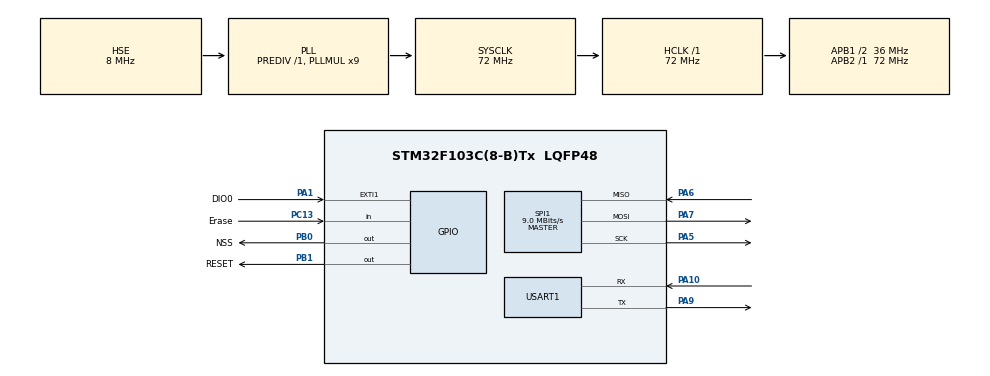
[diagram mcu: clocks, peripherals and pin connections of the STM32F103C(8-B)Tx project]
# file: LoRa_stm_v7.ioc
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Mcu.Family=STM32F1
Mcu.Name=STM32F103C(8-B)Tx
Mcu.Package=LQFP48
NVIC.PriorityGroup=NVIC_PRIORITYGROUP_4
PA1.GPIO_Label=DIO0
PA1.Signal=GPXTI1
PA10.Mode=Asynchronous
PA10.Signal=USART1_RX
PA13.Mode=Serial_Wire
PA13.Signal=SYS_JTMS-SWDIO
PA14.Mode=Serial_Wire
PA14.Signal=SYS_JTCK-SWCLK
PA5.Mode=Full_Duplex_Master
PA5.Signal=SPI1_SCK
PA6.Mode=Full_Duplex_Master
PA6.Signal=SPI1_MISO
PA7.Mode=Full_Duplex_Master
PA7.Signal=SPI1_MOSI
PA9.Mode=Asynchronous
PA9.Signal=USART1_TX
PB0.GPIO_Label=NSS
PB0.PinState=GPIO_PIN_SET
PB0.Signal=GPIO_Output
PB1.GPIO_Label=RESET
PB1.PinState=GPIO_PIN_SET
PB1.Signal=GPIO_Output
PC13-TAMPER-RTC.GPIO_Label=Erase
PC13-TAMPER-RTC.Signal=GPIO_Input
PD0-OSC_IN.Mode=HSE-External-Oscillator
PD0-OSC_IN.Signal=RCC_OSC_IN
PD1-OSC_OUT.Mode=HSE-External-Oscillator
PD1-OSC_OUT.Signal=RCC_OSC_OUT
ProjectManager.HeapSize=0x200
ProjectManager.StackSize=0x400
ProjectManager.TargetToolchain=STM32CubeIDE
RCC.AHBFreq_Value=72000000
RCC.APB1CLKDivider=RCC_HCLK_DIV2
RCC.APB1Freq_Value=36000000
RCC.APB1TimFreq_Value=72000000
RCC.APB2Freq_Value=72000000
RCC.APB2TimFreq_Value=72000000
RCC.HCLKFreq_Value=72000000
RCC.PLLMUL=RCC_PLL_MUL9
RCC.PLLSourceVirtual=RCC_PLLSOURCE_HSE
RCC.SYSCLKFreq_VALUE=72000000
RCC.SYSCLKSource=RCC_SYSCLKSOURCE_PLLCLK
RCC.USBFreq_Value=72000000
SPI1.BaudRatePrescaler=SPI_BAUDRATEPRESCALER_8
SPI1.CalculateBaudRate=9.0 MBits/s
SPI1.Direction=SPI_DIRECTION_2LINES
SPI1.Mode=SPI_MODE_MASTER
SPI1.VirtualType=VM_MASTER
USART1.VirtualMode=VM_ASYNC
board=custom

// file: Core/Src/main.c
/* USER CODE BEGIN Header */
/**
  ******************************************************************************
  * @file           : main.c
  * @brief          : Main program body (clean RX model)
  ******************************************************************************
  * @attention
  *
  * Copyright (c) 2026 STMicroelectronics.
  * All rights reserved.
  *
  ******************************************************************************
  */
/* USER CODE END Header */
#include "main.h"
#include "spi.h"
#include "usart.h"
#include "gpio.h"

/* USER CODE BEGIN Includes */
#include <string.h>
#include <stdio.h>
#include <stdarg.h>
#include "LoRa.h"
#include <stdint.h>
#include <ctype.h>
#include <stdlib.h>
#include "stm32f1xx.h"
#include "stm32f1xx_hal_flash.h"
#include "stm32f1xx_hal_flash_ex.h"
#include "Mesh.h"
/* USER CODE END Includes */

/* USER CODE BEGIN PV */
LoRa myLoRa;
uint16_t LoRa_status;
uint32_t uid[3];
uint8_t Master = 1;
int nodeId = 0;
uint8_t rxBuf[256];
uint8_t txBuf[256];
char payloadBuf[128];

/* USER CODE END PV */

void SystemClock_Config(void);
/* USER CODE BEGIN PFP */
#ifdef USE_UART
	void printu(const char *msg);
	void print_dbg(const char *format, ...);
	void print_node_id(uint8_t nodeId);
	void print_reset_reason(void);
#endif
void STM32_GetUID(uint32_t uid[3]);
/* USER CODE END PFP */

int main(void)
{

  /* MCU Configuration--------------------------------------------------------*/
  HAL_Init();

  lcg_seed = HAL_GetTick();

  /* USER CODE BEGIN Init */
  MX_GPIO_Init();
  MX_SPI1_Init();
  MX_USART1_UART_Init();
  /* USER CODE END Init */

  SystemClock_Config();

  MX_GPIO_Init();
  MX_SPI1_Init();
  MX_USART1_UART_Init();

  /* USER CODE BEGIN 2 */

    /* ---------- SX127x RESET ---------- */
    Mesh_hard_reset_radio();
    HAL_Delay(100);

    /* ---------- INIT LoRa STRUCT ---------- */
    myLoRa = newLoRa();
    myLoRa.CS_port    = NSS_GPIO_Port;
    myLoRa.CS_pin     = NSS_Pin;
    myLoRa.reset_port = RESET_GPIO_Port;
    myLoRa.reset_pin  = RESET_Pin;
    myLoRa.DIO0_port  = DIO0_GPIO_Port;
    myLoRa.DIO0_pin   = DIO0_Pin;
    myLoRa.hSPIx      = &hspi1;

    LoRa_status = LoRa_init(&myLoRa);

    if (LoRa_status != LORA_OK)
    {
      Mesh_hard_reset_radio();
      HAL_Delay(100);

      LoRa_status = LoRa_init(&myLoRa);
      if (LoRa_status != LORA_OK) {
      }
    }

    // Configure LoRa parameters to match ESP32 master
    LoRa_setSyncWord(&myLoRa, 0x34);
    LoRa_setSpreadingFactor(&myLoRa, 7);
    LoRa_enableCRC(&myLoRa, 1);

    /* ---------- SAFE FIFO SETUP ---------- */
    LoRa_write(&myLoRa, RegFiFoRxBaseAddr, 0x00);
    LoRa_write(&myLoRa, RegFiFoTxBaseAddr, 0x80);

    /* ---------- START RX (single start) ---------- */
    LoRa_startReceiving(&myLoRa);

    STM32_GetUID(uid);
    Mesh_reset_watchdog();
    lastResetTime = HAL_GetTick();

  /* USER CODE END 2 */

  /* Infinite loop */
  while (1)
  {
      Mesh_check_watchdog();

      if (nodeId == 0)
      {
          Mesh_request_registration(&myLoRa,uid,&nodeId,payloadBuf,sizeof(payloadBuf),txBuf,sizeof(txBuf),rxBuf,sizeof(rxBuf));
      }
      else
      {
          Mesh_poll(&myLoRa,nodeId,rxBuf,sizeof(rxBuf),payloadBuf,sizeof(payloadBuf));
      }

      Mesh_check_radio_health(&myLoRa);
      HAL_Delay(100);
  }
}

void SystemClock_Config(void)
{
  RCC_OscInitTypeDef RCC_OscInitStruct = {0};
  RCC_ClkInitTypeDef RCC_ClkInitStruct = {0};

  /** Initializes the RCC Oscillators according to the specified parameters
  * in the RCC_OscInitTypeDef structure.
  */
  RCC_OscInitStruct.OscillatorType = RCC_OSCILLATORTYPE_HSE;
  RCC_OscInitStruct.HSEState = RCC_HSE_ON;
  RCC_OscInitStruct.HSEPredivValue = RCC_HSE_PREDIV_DIV1;
  RCC_OscInitStruct.HSIState = RCC_HSI_ON;
  RCC_OscInitStruct.PLL.PLLState = RCC_PLL_ON;
  RCC_OscInitStruct.PLL.PLLSource = RCC_PLLSOURCE_HSE;
  RCC_OscInitStruct.PLL.PLLMUL = RCC_PLL_MUL9;
  if (HAL_RCC_OscConfig(&RCC_OscInitStruct) != HAL_OK)
  {
    Error_Handler();
  }

  /** Initializes the CPU, AHB and APB buses clocks
  */
  RCC_ClkInitStruct.ClockType = RCC_CLOCKTYPE_HCLK|RCC_CLOCKTYPE_SYSCLK
                              |RCC_CLOCKTYPE_PCLK1|RCC_CLOCKTYPE_PCLK2;
  RCC_ClkInitStruct.SYSCLKSource = RCC_SYSCLKSOURCE_PLLCLK;
  RCC_ClkInitStruct.AHBCLKDivider = RCC_SYSCLK_DIV1;
  RCC_ClkInitStruct.APB1CLKDivider = RCC_HCLK_DIV2;
  RCC_ClkInitStruct.APB2CLKDivider = RCC_HCLK_DIV1;

  if (HAL_RCC_ClockConfig(&RCC_ClkInitStruct, FLASH_LATENCY_2) != HAL_OK)
  {
    Error_Handler();
  }
}

/* USER CODE BEGIN 4 */
#ifdef USE_UART
void printu(const char *msg)
{
  HAL_UART_Transmit(&huart1, (uint8_t*)msg, strlen(msg), 200);
}

void print_dbg(const char *format, ...)
{
    va_list args;
    va_start(args, format);
    int len = vsnprintf(dbg_buf, DBG_BUF_SIZE, format, args);
    va_end(args);

    if (len > 0) {
        printu(dbg_buf);
    }
}

void print_node_id(uint8_t nodeId)
{
    char buf[4];   // only 4 bytes on stack
    buf[0] = '0' + (nodeId / 10);
    buf[1] = '0' + (nodeId % 10);
    buf[2] = '\r';
    buf[3] = '\n';

    printu("Node ID: ");
    printu(buf);
}

void print_reset_reason(void)
{
    uint32_t flags = RCC->CSR;
    if(flags & RCC_CSR_LPWRRSTF) {
        printu("Reset Reason: Low Power (Brown-out)\r\n");
    } else if(flags & RCC_CSR_WWDGRSTF) {
        printu("Reset Reason: Window Watchdog\r\n");
    } else if(flags & RCC_CSR_IWDGRSTF) {
        printu("Reset Reason: Independent Watchdog\r\n");
    } else if(flags & RCC_CSR_SFTRSTF) {
        printu("Reset Reason: Software Reset\r\n");
    } else if(flags & RCC_CSR_PORRSTF) {
        printu("Reset Reason: Power-on Reset\r\n");
    } else if(flags & RCC_CSR_PINRSTF) {
        printu("Reset Reason: External Pin Reset\r\n");
    } else {
        printu("Reset Reason: Unknown\r\n");
    }
    RCC->CSR |= RCC_CSR_RMVF;
}
#endif

void STM32_GetUID(uint32_t uid_out[3])
{
    uid_out[0] = *(uint32_t*)0x1FFFF7E8;
    uid_out[1] = *(uint32_t*)0x1FFFF7EC;
    uid_out[2] = *(uint32_t*)0x1FFFF7F0;
}

/* USER CODE END 4 */

void Error_Handler(void)
{
  __disable_irq();
  while (1)
  {
  }
}
